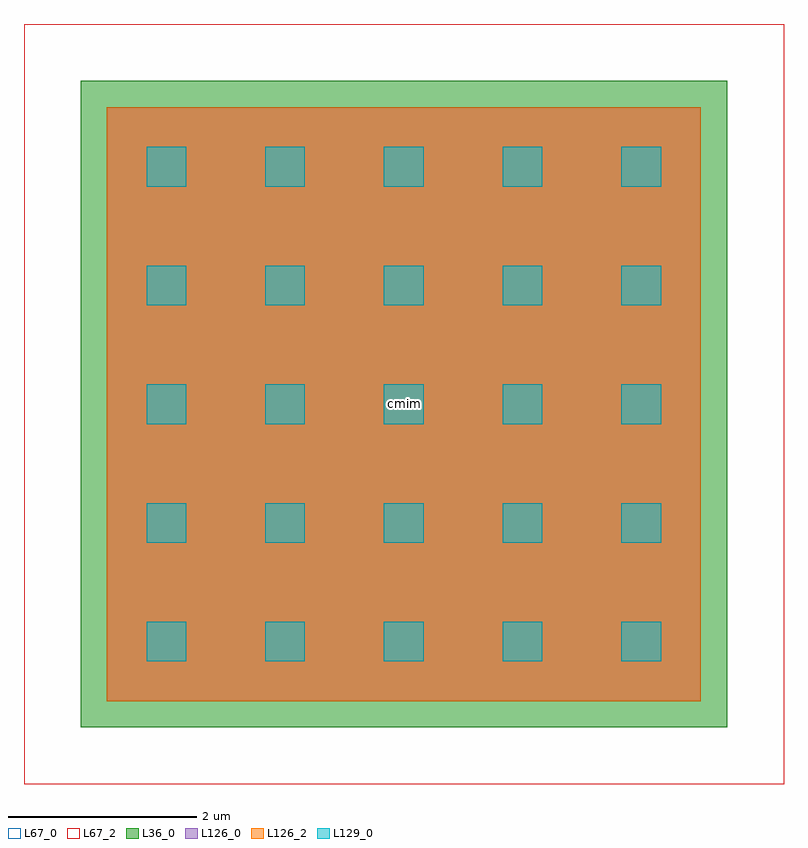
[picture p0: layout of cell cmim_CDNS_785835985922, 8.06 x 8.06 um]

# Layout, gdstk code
import gdstk
lib = gdstk.Library(unit=1e-6, precision=1e-09)
def R(c, l, rs):  # rectangles x0, y0, x1, y1
    for r in rs: c.add(gdstk.rectangle(r[:2], r[2:], *l))
def A(c, l, x, y, w, h, nx, ny, dx, dy):  # array of equal rectangles
    R(c, l, [(x+i*dx, y+j*dy, x+i*dx+w, y+j*dy+h) for i in range(nx) for j in range(ny)])
L36_0 = (36, 0)
L67_0 = (67, 0)
L67_2 = (67, 2)
L126_0 = (126, 0)
L126_2 = (126, 2)
L129_0 = (129, 0)

cmim_cdns_785835985922 = lib.new_cell('cmim_CDNS_785835985922')
R(cmim_cdns_785835985922, L36_0, [(0,0,6.865,6.865)])
R(cmim_cdns_785835985922, L67_0, [(-0.6,-0.6,7.465,7.465)])
R(cmim_cdns_785835985922, L67_2, [(-0.6,-0.6,7.465,7.465)])
R(cmim_cdns_785835985922, L126_0, [(0.28,0.28,6.58,6.58)])
R(cmim_cdns_785835985922, L126_2, [(0.28,0.28,6.58,6.58)])
A(cmim_cdns_785835985922, L129_0, 0.7, 0.7, 0.42, 0.42, 5, 5, 1.26, 1.26)
cmim_cdns_785835985922.add(gdstk.Label('cmim', (3.433,3.433), layer=63, texttype=0))
cmim_cdns_785835985922.add(gdstk.Label('c=71.998f', (3.433,3.433), layer=63, texttype=0))

lib.write_gds('cmim_CDNS_785835985922.gds')
